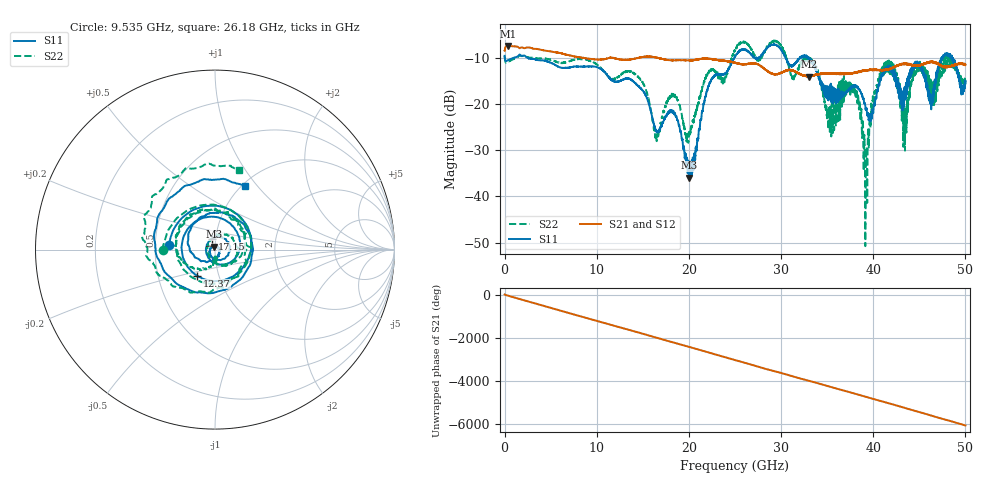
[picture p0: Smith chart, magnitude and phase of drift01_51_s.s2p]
!Created with skrf (http://scikit-rf.org).
# Hz S RI R 50.0
!freq ReS11 ImS11 ReS21 ImS21 ReS12 ImS12 ReS22 ImS22
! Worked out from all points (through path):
!   10001 points, 300 kHz to 50 GHz, reference 50 ohm
!   highest |S21| = -7.33 dB at 345.3 MHz (marker M1); lowest = -14.0 dB at 33.05 GHz (marker M2)
!   group delay of S21, straight-line fit = 335 ps
!   lowest |S11| = -35.9 dB at 20.01 GHz (marker M3), VSWR 1.03, Z = 49.6 + j1.55 ohm
!   |S11| at or under -10 dB: 2.556 GHz to 24.92 GHz (22.36 GHz wide, 163 % of centre); 30.5 GHz to 32.01 GHz (1.517 GHz wide, 4.85 % of centre); 33.07 GHz to 47.41 GHz (14.35 GHz wide, 35.7 % of centre) (the widest 3 of 32)
!   |S22| runs from -50.8 to -6.2 dB; largest |S21 - S12| = 0.011
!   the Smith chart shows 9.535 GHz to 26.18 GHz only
!   S11 on the Smith chart (normalised r, x): 9.535 GHz: 0.59, +0.03; 12.37 GHz: 0.79, -0.23; 17.15 GHz: 0.96, +0.12; 26.18 GHz: 1.04, +0.87
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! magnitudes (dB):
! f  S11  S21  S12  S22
! 300 kHz  -9.5  -8.4  -8.5  -9.5
! 345.3 MHz  -10.5  -7.3  -7.3  -10.9
! 8.335 GHz  -11.8  -9.9  -9.9  -10.2
! 9.535 GHz  -11.8  -10.2  -10.2  -10.8
! 12.37 GHz  -15.1  -10.2  -10.2  -14.0
! 16.67 GHz  -26.1  -10.0  -10.0  -27.3
! 17.15 GHz  -23.9  -10.2  -10.2  -22.9
! 18.51 GHz  -22.2  -10.5  -10.5  -18.2
! 20.01 GHz  -35.9  -10.5  -10.5  -26.5
! 22.26 GHz  -15.4  -10.2  -10.2  -12.7
! 25 GHz  -9.6  -11.0  -11.0  -8.5
! 26.18 GHz  -8.1  -11.3  -11.3  -6.8
! 33.05 GHz  -10.1  -14.0  -13.9  -10.1
! 33.34 GHz  -10.8  -13.8  -13.8  -10.4
! 35.22 GHz  -16.9  -13.3  -13.3  -21.4
! 37.97 GHz  -15.9  -13.1  -13.2  -17.3
! 39.17 GHz  -20.8  -12.7  -12.7  -39.5
! 40.16 GHz  -20.3  -12.5  -12.5  -17.3
! 41.67 GHz  -12.3  -12.3  -12.4  -11.6
! 43.37 GHz  -18.1  -11.3  -11.3  -21.5
! 44.88 GHz  -11.0  -11.6  -11.6  -11.3
! 50 GHz  -15.4  -11.4  -11.4  -15.1
